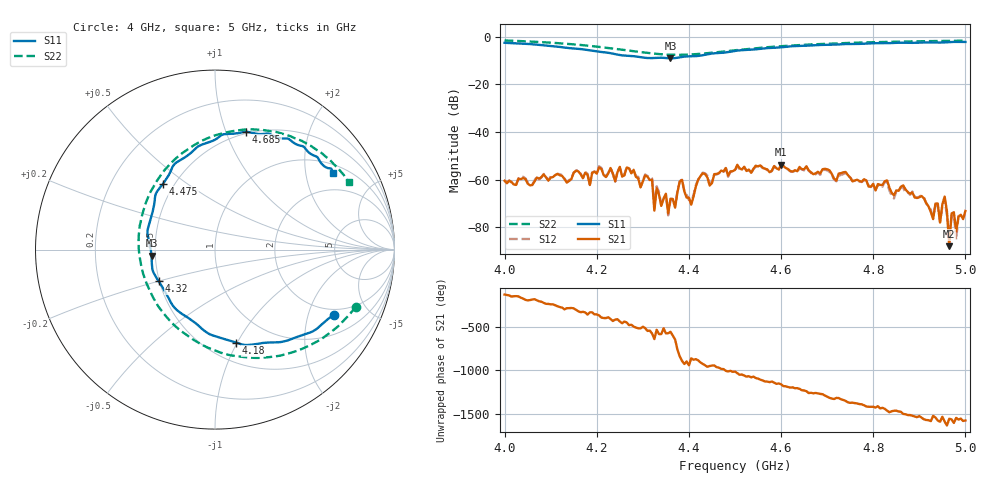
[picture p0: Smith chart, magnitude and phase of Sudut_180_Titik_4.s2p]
# Hz S RI R 50
! CMT, C1220, 16058040, 17.2.0/1
! Date: 15/08/2018 12:30:14
! Data: Format (Calibration Info)
! Freq  S11: Re/Im (F2)  S21: Re/Im (F2)  S12: Re/Im (F2)  S22: Re/Im (F2)
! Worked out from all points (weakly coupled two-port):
!   201 points, 4 GHz to 5 GHz, reference 50 ohm
!   highest |S21| = -53.79 dB at 4.6 GHz (marker M1); lowest = -88.0 dB at 4.965 GHz (marker M2)
!   lowest |S11| = -9.0 dB at 4.36 GHz (marker M3), VSWR 2.10, Z = 23.8 - j1.89 ohm
!   |S11| at or under -10 dB: nowhere
!   |S22| runs from -7.5 to -1.5 dB; largest |S21 - S12| = 0.00014
!   S11 on the Smith chart (normalised r, x): 4 GHz: 1.75, -2.95; 4.18 GHz: 0.68, -0.99; 4.32 GHz: 0.50, -0.20; 4.475 GHz: 0.44, +0.41; 4.685 GHz: 0.48, +1.18; 5 GHz: 1.28, +2.85
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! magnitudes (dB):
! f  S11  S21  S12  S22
! 4 GHz  -2.4  -60.5  -60.3  -1.5
! 4.17 GHz  -5.2  -59.4  -59.3  -3.5
! 4.18 GHz  -5.5  -58.0  -57.6  -3.6
! 4.32 GHz  -8.9  -60.0  -59.5  -6.9
! 4.325 GHz  -8.8  -73.1  -71.9  -7.0
! 4.335 GHz  -8.7  -66.2  -65.2  -7.2
! 4.355 GHz  -8.9  -74.3  -75.1  -7.4
! 4.36 GHz  -9.0  -68.1  -68.6  -7.5
! 4.385 GHz  -8.4  -60.1  -60.0  -7.5
! 4.405 GHz  -8.1  -70.6  -69.3  -7.3
! 4.475 GHz  -6.6  -56.6  -56.8  -6.1
! 4.5 GHz  -5.9  -56.0  -56.2  -5.6
! 4.6 GHz  -4.3  -53.8  -53.9  -3.9
! 4.67 GHz  -3.5  -57.7  -58.3  -3.1
! 4.685 GHz  -3.4  -57.4  -58.0  -3.0
! 4.835 GHz  -2.6  -63.4  -64.6  -2.1
! 4.93 GHz  -2.3  -76.7  -76.3  -1.7
! 4.94 GHz  -2.4  -70.1  -71.5  -1.7
! 4.945 GHz  -2.3  -78.1  -77.9  -1.7
! 4.955 GHz  -2.3  -67.2  -68.3  -1.7
! 4.965 GHz  -2.2  -88.0  -82.5  -1.6
! 5 GHz  -2.1  -73.2  -75.3  -1.6
